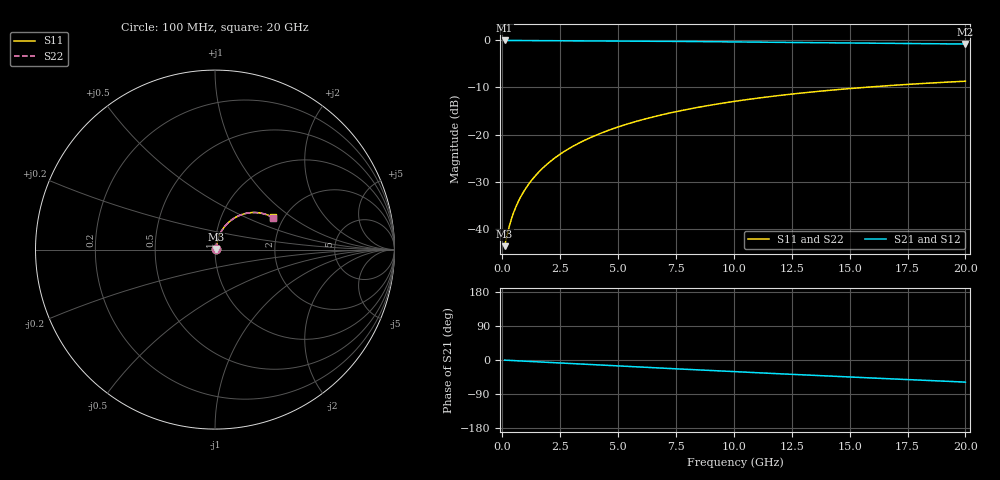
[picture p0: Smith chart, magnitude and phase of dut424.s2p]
! Touchstone file exported from HFSS 2026.1.0
!  File:  C:/ffzhzh/LocalFiles/Ansys_Project_Files/temp_train_BSMRDL_424_1783012790_4048.aedt
!  Generated:  01:21:25 AM Jul  3, 2026
!  Design:  BSMRDL
!  Project:  temp_train_BSMRDL_424_1783012790_4048
! Variables:
!  h_bsmrdl = 3.01um
!  h_ox = 20um
!  h_rdl = 5um
!  h_sub = 80um
!  h_tmrdl = 5um
!  h_tsv = 80um
!  h_via = 3um
!  l_bsmrdl = 970.64um
!  l_sub = 1370.64um
!  l_tmrdl = 200um
!  m_sub = 200um
!  pitch = 34.11um
!  r_tsv = 6um
!  s_tmrdl = 10um
!  w_bsmrdl = 19.87um
!  w_sub = 500um
!  w_tmrdl = 12um
!  x_tsv_center1 = 206um
!  x_tsv_center2 = 1196.51um
!  x_tsv_center3 = 1408.51um
!  x_tsv_center4 = 2399.02um
!  x_tsv_center5 = 2611.02um
!  x_tsv_center6 = 3601.53um
# GHz S MA R 50.000000
! Terminal data exported
! Port[1] = BSM_RDL1_1_T1
! Port[2] = BSM_RDL1_1_T2
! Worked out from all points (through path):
!   200 points, 100 MHz to 20 GHz, reference 50 ohm
!   highest |S21| = -0.05 dB at 100 MHz (marker M1); lowest = -0.8 dB at 20 GHz (marker M2)
!   group delay of S21, straight-line fit = 8.1 ps
!   lowest |S11| = -43.6 dB at 100 MHz (marker M3), VSWR 1.01, Z = 50.6 + j0.296 ohm
!   |S11| at or under -10 dB: start of sweep to 15.61 GHz
!   |S22| runs from -43.6 to -8.7 dB; largest |S21 - S12| = 5.2e-15
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0.1  0.006613 26.2  0.9941 -0.3  0.9941 -0.3  0.006613 26.2
! Gamma 0 0 0 0
! Port Impedance 50 0 50 0
0.3  0.01069 51.5  0.9935 -1.0  0.9935 -1.0  0.01069 51.5
0.4  0.01298 57.0  0.9931 -1.3  0.9931 -1.3  0.01298 57.0
0.5  0.01526 60.7  0.9928 -1.6  0.9928 -1.6  0.01526 60.7
0.6  0.01754 63.4  0.9926 -2.0  0.9926 -2.0  0.01754 63.4
0.8  0.02211 67.3  0.9922 -2.6  0.9922 -2.6  0.02211 67.3
1  0.02672 69.8  0.9918 -3.2  0.9918 -3.2  0.02672 69.8
1.2  0.03139 71.4  0.9916 -3.8  0.9916 -3.8  0.03139 71.4
1.4  0.0361 72.6  0.9913 -4.5  0.9913 -4.5  0.0361 72.6
1.7  0.04322 73.6  0.9908 -5.4  0.9908 -5.4  0.04322 73.6
2.2  0.05514 74.1  0.99 -7.0  0.99 -7.0  0.05514 74.1
2.8  0.06944 73.8  0.9888 -8.8  0.9888 -8.8  0.06944 73.8
3.5  0.086 72.8  0.987 -11.0  0.987 -11.0  0.086 72.8
4.2  0.1024 71.3  0.985 -13.2  0.985 -13.2  0.1024 71.3
5  0.1207 69.4  0.9823 -15.7  0.9823 -15.7  0.1207 69.4
5.9  0.1409 67.1  0.979 -18.4  0.979 -18.4  0.1409 67.1
6.8  0.1605 64.7  0.9752 -21.1  0.9752 -21.1  0.1605 64.6
8.3  0.1917 60.5  0.9684 -25.6  0.9684 -25.6  0.1917 60.5
10.1  0.2268 55.5  0.9596 -30.9  0.9596 -30.9  0.2268 55.5
13.4  0.2836 46.4  0.9426 -40.4  0.9426 -40.4  0.2837 46.4
16.7  0.3308 37.6  0.9261 -49.5  0.9261 -49.5  0.3308 37.6
20  0.3682 29.1  0.9115 -58.3  0.9115 -58.3  0.3682 29.0
